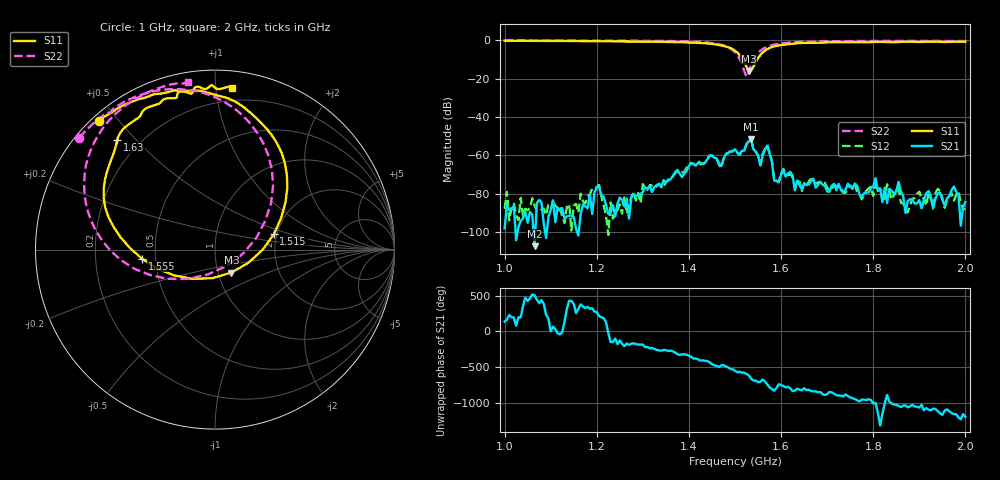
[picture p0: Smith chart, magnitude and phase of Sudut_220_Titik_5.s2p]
# Hz S RI R 50
! CMT, C1220, 16058040, 17.2.0/1
! Date: 14/08/2018 11:49:38
! Data: Format (Calibration Info)
! Freq  S11: Re/Im (F2)  S21: Re/Im (F2)  S12: Re/Im (F2)  S22: Re/Im (F2)
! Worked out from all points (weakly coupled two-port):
!   201 points, 1 GHz to 2 GHz, reference 50 ohm
!   highest |S21| = -51.56 dB at 1.535 GHz (marker M1); lowest = -107.3 dB at 1.065 GHz (marker M2)
!   lowest |S11| = -16.1 dB at 1.53 GHz (marker M3), VSWR 1.37, Z = 57.9 - j15.2 ohm
!   |S11| at or under -10 dB: 1.516 GHz to 1.548 GHz (31.94 MHz wide, 2.08 % of centre)
!   |S22| runs from -19.0 to -0.2 dB; largest |S21 - S12| = 0.00027
!   S11 on the Smith chart (normalised r, x): 1 GHz: 0.02, +0.44; 1.515 GHz: 1.93, +0.37; 1.555 GHz: 0.42, -0.05; 1.63 GHz: 0.12, +0.44; 2 GHz: 0.11, +1.11
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1e9  -0.6471 0.715  -9.29e-06 8.52e-06  -3.05e-05 -2.69e-05  -0.7553 0.6241
1.065e9  -0.5758 0.7644  -3.59e-06 2.44e-06  -4.83e-07 4.97e-05  -0.7102 0.6727
1.17e9  -0.4681 0.8219  5.11e-05 -1.43e-05  5.54e-05 -3.42e-05  -0.6183 0.7505
1.335e9  -0.2047 0.8851  -2.28e-05 0.000179  -3.24e-05 0.000181  -0.4011 0.866
1.45e9  0.1814 0.7762  -4.67e-05 -0.00097  -0.000113 -0.000991  0.022 0.8388
1.47e9  0.2915 0.6688  -0.000192 -0.000491  -0.000196 -0.000433  0.1616 0.7399
1.5e9  0.4029 0.345  -0.00142 0.0002  -0.00137 0.000158  0.3237 0.3566
1.515e9  0.3278 0.0856  -0.00112 0.00069  -0.00117 0.000681  0.2301 0.0653
1.53e9  0.0914 -0.1279  -0.000771 0.0022  -0.000835 0.00227  -0.0421 -0.1392
1.535e9  -0.0142 -0.1592  0.00119 0.00236  0.00114 0.00237  -0.1525 -0.1635
1.555e9  -0.4067 -0.0507  0.000526 0.000172  0.000516 0.000195  -0.5229 -0.0592
1.57e9  -0.5655 0.1268  0.00169 -0.000497  0.00183 -0.00057  -0.6627 0.1037
1.585e9  -0.6205 0.2941  -4.94e-05 -0.000217  -9.89e-05 -0.000212  -0.7188 0.2545
1.62e9  -0.5551 0.5669  0.000119 -0.000351  6.23e-05 -0.000321  -0.7125 0.495
1.63e9  -0.545 0.6106  -2.38e-05 -0.000122  2.56e-05 -0.00014  -0.6971 0.5414
1.67e9  -0.4319 0.731  -9.5e-05 -0.000229  -8.1e-05 -0.000198  -0.6279 0.6718
1.7e9  -0.3908 0.7826  -0.000101 -5.54e-05  -0.000126 -6.97e-05  -0.5779 0.7326
1.79e9  -0.2121 0.8528  -8.14e-05 7.16e-05  -0.000109 8.29e-05  -0.4388 0.8415
1.805e9  -0.2032 0.8764  2.82e-06 0.000255  -9.57e-06 0.000206  -0.4178 0.8536
1.81e9  -0.1948 0.8808  7.62e-05 -9.03e-05  8.4e-05 9.84e-05  -0.4111 0.8575
1.835e9  -0.1372 0.8698  -3.61e-05 0.00013  -6.16e-06 0.000115  -0.3776 0.8741
2e9  0.097 0.9022  -1.82e-05 -5.8e-05  1.81e-05 -3.51e-05  -0.1525 0.9341
